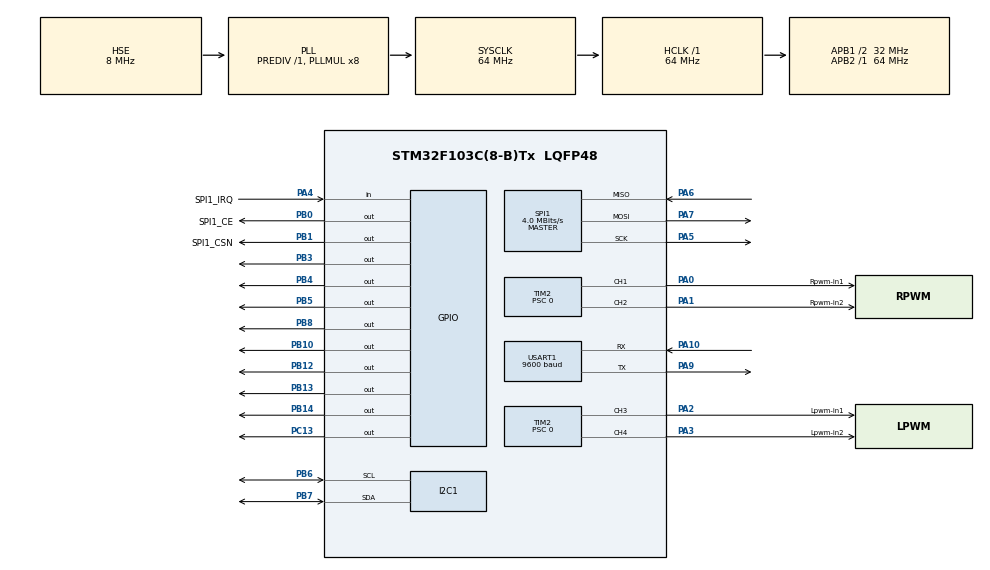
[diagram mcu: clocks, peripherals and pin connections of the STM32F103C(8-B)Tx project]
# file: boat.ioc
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Dma.I2C1_RX.0.Direction=DMA_PERIPH_TO_MEMORY
Dma.I2C1_RX.0.Instance=DMA1_Channel7
Dma.I2C1_RX.0.MemDataAlignment=DMA_MDATAALIGN_BYTE
Dma.I2C1_RX.0.MemInc=DMA_MINC_ENABLE
Dma.I2C1_RX.0.Mode=DMA_NORMAL
Dma.I2C1_RX.0.PeriphDataAlignment=DMA_PDATAALIGN_BYTE
Dma.I2C1_RX.0.PeriphInc=DMA_PINC_DISABLE
Dma.I2C1_RX.0.Priority=DMA_PRIORITY_LOW
Dma.I2C1_TX.1.Direction=DMA_MEMORY_TO_PERIPH
Dma.I2C1_TX.1.Instance=DMA1_Channel6
Dma.I2C1_TX.1.MemDataAlignment=DMA_MDATAALIGN_BYTE
Dma.I2C1_TX.1.MemInc=DMA_MINC_ENABLE
Dma.I2C1_TX.1.Mode=DMA_NORMAL
Dma.I2C1_TX.1.PeriphDataAlignment=DMA_PDATAALIGN_BYTE
Dma.I2C1_TX.1.PeriphInc=DMA_PINC_DISABLE
Dma.I2C1_TX.1.Priority=DMA_PRIORITY_LOW
Dma.Request0=I2C1_RX
Dma.Request1=I2C1_TX
Dma.Request2=SPI1_RX
Dma.Request3=SPI1_TX
Dma.Request4=USART1_RX
Dma.SPI1_RX.2.Direction=DMA_PERIPH_TO_MEMORY
Dma.SPI1_RX.2.Instance=DMA1_Channel2
Dma.SPI1_RX.2.MemDataAlignment=DMA_MDATAALIGN_BYTE
Dma.SPI1_RX.2.MemInc=DMA_MINC_ENABLE
Dma.SPI1_RX.2.Mode=DMA_NORMAL
Dma.SPI1_RX.2.PeriphDataAlignment=DMA_PDATAALIGN_BYTE
Dma.SPI1_RX.2.PeriphInc=DMA_PINC_DISABLE
Dma.SPI1_RX.2.Priority=DMA_PRIORITY_HIGH
Dma.SPI1_TX.3.Direction=DMA_MEMORY_TO_PERIPH
Dma.SPI1_TX.3.Instance=DMA1_Channel3
Dma.SPI1_TX.3.MemDataAlignment=DMA_MDATAALIGN_BYTE
Dma.SPI1_TX.3.MemInc=DMA_MINC_ENABLE
Dma.SPI1_TX.3.Mode=DMA_NORMAL
Dma.SPI1_TX.3.PeriphDataAlignment=DMA_PDATAALIGN_BYTE
Dma.SPI1_TX.3.PeriphInc=DMA_PINC_DISABLE
Dma.SPI1_TX.3.Priority=DMA_PRIORITY_HIGH
Dma.USART1_RX.4.Direction=DMA_PERIPH_TO_MEMORY
Dma.USART1_RX.4.Instance=DMA1_Channel5
Dma.USART1_RX.4.MemDataAlignment=DMA_MDATAALIGN_BYTE
Dma.USART1_RX.4.MemInc=DMA_MINC_ENABLE
Dma.USART1_RX.4.Mode=DMA_NORMAL
Dma.USART1_RX.4.PeriphDataAlignment=DMA_PDATAALIGN_BYTE
Dma.USART1_RX.4.PeriphInc=DMA_PINC_DISABLE
Dma.USART1_RX.4.Priority=DMA_PRIORITY_VERY_HIGH
I2C1.I2C_Mode=I2C_Fast
Mcu.Family=STM32F1
Mcu.Name=STM32F103C(8-B)Tx
Mcu.Package=LQFP48
NVIC.DMA1_Channel2_IRQn=true\:0\:0\:false\:false\:true\:false\:true\:true
NVIC.DMA1_Channel3_IRQn=true\:0\:0\:false\:false\:true\:false\:true\:true
NVIC.DMA1_Channel5_IRQn=true\:0\:0\:false\:false\:true\:false\:true\:true
NVIC.DMA1_Channel6_IRQn=true\:0\:0\:false\:false\:true\:false\:true\:true
NVIC.DMA1_Channel7_IRQn=true\:0\:0\:false\:false\:true\:false\:true\:true
NVIC.I2C1_ER_IRQn=true\:0\:0\:false\:false\:true\:true\:true\:true
NVIC.I2C1_EV_IRQn=true\:0\:0\:false\:false\:true\:true\:true\:true
NVIC.PriorityGroup=NVIC_PRIORITYGROUP_4
NVIC.SPI1_IRQn=true\:0\:0\:false\:false\:true\:true\:true\:true
NVIC.TIM1_UP_IRQn=true\:0\:0\:false\:false\:true\:true\:true\:true
NVIC.TIM2_IRQn=true\:0\:0\:false\:false\:true\:true\:true\:true
NVIC.USART1_IRQn=true\:0\:0\:false\:false\:true\:true\:true\:true
PA0-WKUP.GPIO_Label=Rpwm-in1
PA0-WKUP.Signal=S_TIM2_CH1_ETR
PA1.GPIO_Label=Rpwm-in2
PA1.Signal=S_TIM2_CH2
PA10.Mode=Asynchronous
PA10.Signal=USART1_RX
PA13.Mode=Serial_Wire
PA13.Signal=SYS_JTMS-SWDIO
PA14.Mode=Serial_Wire
PA14.Signal=SYS_JTCK-SWCLK
PA2.GPIO_Label=Lpwm-in1
PA2.Signal=S_TIM2_CH3
PA3.GPIO_Label=Lpwm-in2
PA3.Signal=S_TIM2_CH4
PA4.GPIO_Label=SPI1_IRQ
PA4.GPIO_PuPd=GPIO_PULLUP
PA4.Signal=GPIO_Input
PA5.Mode=Full_Duplex_Master
PA5.Signal=SPI1_SCK
PA6.Mode=Full_Duplex_Master
PA6.Signal=SPI1_MISO
PA7.Mode=Full_Duplex_Master
PA7.Signal=SPI1_MOSI
PA9.Mode=Asynchronous
PA9.Signal=USART1_TX
PB0.GPIO_Label=SPI1_CE
PB0.GPIO_Speed=GPIO_SPEED_FREQ_HIGH
PB0.PinState=GPIO_PIN_SET
PB0.Signal=GPIO_Output
PB1.GPIO_Label=SPI1_CSN
PB1.GPIO_Speed=GPIO_SPEED_FREQ_HIGH
PB1.PinState=GPIO_PIN_SET
PB1.Signal=GPIO_Output
PB10.Signal=GPIO_Output
PB12.Signal=GPIO_Output
PB13.Signal=GPIO_Output
PB14.Signal=GPIO_Output
PB3.GPIO_ModeDefaultOutputPP=GPIO_MODE_OUTPUT_PP
PB3.GPIO_PuPd=GPIO_PULLUP
PB3.PinState=GPIO_PIN_SET
PB3.Signal=GPIO_Output
PB4.Signal=GPIO_Output
PB5.Signal=GPIO_Output
PB6.GPIO_Mode=GPIO_MODE_AF_OD
PB6.Mode=I2C
PB6.Signal=I2C1_SCL
PB7.Mode=I2C
PB7.Signal=I2C1_SDA
PB8.GPIO_ModeDefaultOutputPP=GPIO_MODE_OUTPUT_OD
PB8.GPIO_PuPd=GPIO_PULLUP
PB8.Signal=GPIO_Output
PC13-TAMPER-RTC.GPIO_ModeDefaultOutputPP=GPIO_MODE_OUTPUT_PP
PC13-TAMPER-RTC.GPIO_PuPd=GPIO_NOPULL
PC13-TAMPER-RTC.Signal=GPIO_Output
PC14-OSC32_IN.Mode=LSE-External-Oscillator
PC14-OSC32_IN.Signal=RCC_OSC32_IN
PC15-OSC32_OUT.Mode=LSE-External-Oscillator
PC15-OSC32_OUT.Signal=RCC_OSC32_OUT
PD0-OSC_IN.Mode=HSE-External-Oscillator
PD0-OSC_IN.Signal=RCC_OSC_IN
PD1-OSC_OUT.Mode=HSE-External-Oscillator
PD1-OSC_OUT.Signal=RCC_OSC_OUT
ProjectManager.HeapSize=0x200
ProjectManager.StackSize=0x400
ProjectManager.TargetToolchain=STM32CubeIDE
RCC.ADCPresc=RCC_ADCPCLK2_DIV8
RCC.AHBFreq_Value=64000000
RCC.APB1CLKDivider=RCC_HCLK_DIV2
RCC.APB1Freq_Value=32000000
RCC.APB1TimFreq_Value=64000000
RCC.APB2Freq_Value=64000000
RCC.APB2TimFreq_Value=64000000
RCC.HCLKFreq_Value=64000000
RCC.PLLMUL=RCC_PLL_MUL8
RCC.PLLSourceVirtual=RCC_PLLSOURCE_HSE
RCC.SYSCLKFreq_VALUE=64000000
RCC.SYSCLKSource=RCC_SYSCLKSOURCE_PLLCLK
RCC.USBFreq_Value=64000000
SH.S_TIM2_CH1_ETR.0=TIM2_CH1,PWM Generation1 CH1
SH.S_TIM2_CH2.0=TIM2_CH2,PWM Generation2 CH2
SH.S_TIM2_CH3.0=TIM2_CH3,PWM Generation3 CH3
SH.S_TIM2_CH4.0=TIM2_CH4,PWM Generation4 CH4
SPI1.BaudRatePrescaler=SPI_BAUDRATEPRESCALER_16
SPI1.CalculateBaudRate=4.0 MBits/s
SPI1.Direction=SPI_DIRECTION_2LINES
SPI1.Mode=SPI_MODE_MASTER
SPI1.VirtualType=VM_MASTER
TIM1.AutoReloadPreload=TIM_AUTORELOAD_PRELOAD_ENABLE
TIM1.Period=9999
TIM1.Prescaler=6399
TIM2.AutoReloadPreload=TIM_AUTORELOAD_PRELOAD_ENABLE
TIM2.Channel-PWM\ Generation1\ CH1=TIM_CHANNEL_1
TIM2.Channel-PWM\ Generation2\ CH2=TIM_CHANNEL_2
TIM2.Channel-PWM\ Generation3\ CH3=TIM_CHANNEL_3
TIM2.Channel-PWM\ Generation4\ CH4=TIM_CHANNEL_4
TIM2.OCFastMode_PWM-PWM\ Generation1\ CH1=TIM_OCFAST_ENABLE
TIM2.OCFastMode_PWM-PWM\ Generation2\ CH2=TIM_OCFAST_ENABLE
TIM2.OCFastMode_PWM-PWM\ Generation3\ CH3=TIM_OCFAST_ENABLE
TIM2.OCFastMode_PWM-PWM\ Generation4\ CH4=TIM_OCFAST_ENABLE
TIM2.Period=3199
TIM2.Prescaler=0
TIM2.Pulse-PWM\ Generation1\ CH1=Rpwm_in1
TIM2.Pulse-PWM\ Generation2\ CH2=Rpwm_in2
TIM2.Pulse-PWM\ Generation3\ CH3=Lpwm_in1
TIM2.Pulse-PWM\ Generation4\ CH4=Lpwm_in2
USART1.BaudRate=9600
USART1.VirtualMode=VM_ASYNC
VP_TIM1_VS_ClockSourceINT.Mode=Internal
VP_TIM2_VS_ClockSourceINT.Mode=Internal
board=custom

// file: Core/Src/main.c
/* USER CODE BEGIN Header */
/**
 ******************************************************************************
 * @file           : main.c
 * @brief          : Main program body
 ******************************************************************************
 * @attention
 *
 * Copyright (c) 2025 STMicroelectronics.
 * All rights reserved.
 *
 * This software is licensed under terms that can be found in the LICENSE file
 * in the root directory of this software component.
 * If no LICENSE file comes with this software, it is provided AS-IS.
 *
 ******************************************************************************
 */
/* USER CODE END Header */
#include "main.h"
#include "dma.h"
#include "i2c.h"
#include "spi.h"
#include "tim.h"
#include "usart.h"
#include "gpio.h"

/* USER CODE BEGIN Includes */
#include <stdint.h>
#include <stdio.h>
#include <stdlib.h>
#include <string.h>
#include "nrf24l01.h"
#include "driver.h"
#include "gps.h"
#include "oled.h"
/* USER CODE END Includes */

/* USER CODE BEGIN PTD */

// #define ADC_CHANNELS     4     // 摇杆通道数
// #define FILTER_WINDOW 8
uint16_t values[4];
char message[20] = "";

int RX_BUFF[4] = {0};       // 改为int类型存储解析后的数据
char TowardsData[10] = "";  // 方向
char ForwardsData[10] = ""; // 油门

char remode1[50] = "";
char remode2[50] = "";
char data_ready = 0;

uint8_t g_TxMode = 0, g_UartRxFlag = 0;
char g_UartRxBuffer[100] = {0};
char g_RF24L01RxBuffer[20] = {0};
uint8_t conversion = 0;         // nrf24l01转换标志
uint8_t g_RF24L01TxBuffer[100]; // nRF24L01发送缓冲区

extern uint8_t GPS_timer[32];
/* USER CODE END PTD */

void SystemClock_Config(void);

/* USER CODE BEGIN 0 */

void parse_input_str(char *str, int arr[4])
{
  char *token = strtok(str, ",");
  for (int i = 0; i < 4 && token != NULL; i++)
  {
    arr[i] = atoi(token);
    token = strtok(NULL, ",");
  }
}
void HAL_UART_RxCpltCallback(UART_HandleTypeDef *huart)
{
  if (huart->Instance == USART1)
  {
    // 检查缓冲区溢出
    if (gps_index >= sizeof(gps_buffer))
    {
      gps_index = 0;
      return;
    }

    // 写入接收到的字节
    gps_buffer[gps_index++] = g_UartRxBuffer[0];

    // 检查是否收到完整帧（以 \r\n 结尾）
    if (gps_index >= 6 && g_UartRxBuffer[0] == '\n' && gps_buffer[gps_index - 2] == '\r')
    {
      gps_buffer[gps_index] = '\0'; // 添加字符串终止符

      // 关键点：检查是否为GNRMC帧
      if (strstr((const char *)gps_buffer, "$GNRMC") != NULL)
      {
        parse_gnrmc((const char *)gps_buffer, &gps_data); // 解析GNRMC数据
        gps_data.updata = 1;                              // 标记数据已更新
                                                          // snprintf(GPS_timer, 32, "%s", &gps_buffer[0]); // 格式化为 hh:mm:ss.sss
      }

      gps_index = 0; // 重置缓冲区索引
    }

    // 重新启动DMA接收
    HAL_UART_Receive_DMA(&huart1, (uint8_t *)g_UartRxBuffer, 1);
  }
}

/* USER CODE END 0 */

int main(void)
{

  /* USER CODE BEGIN 1 */
  uint8_t i = 0;
  uint32_t j = 0;
  /* USER CODE END 1 */

  /* MCU Configuration--------------------------------------------------------*/

  /* Reset of all peripherals, Initializes the Flash interface and the Systick. */
  HAL_Init();

  /* USER CODE BEGIN Init */
  //  HAL_SYSTICK_IRQHandler();
  /* USER CODE END Init */

  /* Configure the system clock */
  SystemClock_Config();

  /* Initialize all configured peripherals */
  MX_GPIO_Init();
  MX_DMA_Init();
  MX_I2C1_Init();
  MX_SPI1_Init();
  MX_USART1_UART_Init();
  MX_TIM1_Init();
  MX_TIM2_Init();
  /* USER CODE BEGIN 2 */
  // 启动定时器中断
  HAL_TIM_Base_Start_IT(&htim1);

  HAL_TIM_PWM_Start(&htim2, TIM_CHANNEL_1);
  HAL_TIM_PWM_Start(&htim2, TIM_CHANNEL_2);
  HAL_TIM_PWM_Start(&htim2, TIM_CHANNEL_3);
  HAL_TIM_PWM_Start(&htim2, TIM_CHANNEL_4);

  __HAL_TIM_SET_COMPARE(&htim2, TIM_CHANNEL_1, 0); // 设置占空比50%
  __HAL_TIM_SET_COMPARE(&htim2, TIM_CHANNEL_2, 0); // 设置占空比50%

  __HAL_TIM_SET_COMPARE(&htim2, TIM_CHANNEL_3, 0); // 设置占空比50%
  __HAL_TIM_SET_COMPARE(&htim2, TIM_CHANNEL_4, 0); // 设置占空比50%

  //	OLED_Init();

  // RF24L01引脚初始化
  NRF24L01_Gpio_Init();

  // 检测nRF24L01
  while (NRF24L01_check_DMA() == 0)
    ;
  RF24L01_Init_DMA();
  RF24L01_Set_Mode_DMA(MODE_TX); // 发送模式

  GPS_Init(); // 初始化GPS数据结构体
  /* USER CODE END 2 */

  /* Infinite loop */
  /* USER CODE BEGIN WHILE */
  while (1)
  {
    if (0 != NRF24L01_RxPacket_DMA((uint8_t *)g_RF24L01RxBuffer)) // 接收字节
    {
      parse_input_str(g_RF24L01RxBuffer, RX_BUFF); // 解析接收数据

      update_motion_control(RX_BUFF); // 更新电机控制

      i = 0; // 计数器清零

      // HAL_GPIO_TogglePin(GPIOC, GPIO_PIN_13);
    }
    else
    {
      i++;
      conversion++; // nrf24l01转换标志
      if (i >= 10)
      {
        quiescent(); // 进入静止状态
        i = 0;
      }
      if (conversion > 3) // && gps_data.updata == 1这里的condition是一个条件判断，具体条件需要根据实际情况定义
      {
        mode_change();
      }
    }
    /* USER CODE END WHILE */

  }
}

void SystemClock_Config(void)
{
  RCC_OscInitTypeDef RCC_OscInitStruct = {0};
  RCC_ClkInitTypeDef RCC_ClkInitStruct = {0};

  /** Initializes the RCC Oscillators according to the specified parameters
   * in the RCC_OscInitTypeDef structure.
   */
  RCC_OscInitStruct.OscillatorType = RCC_OSCILLATORTYPE_HSE;
  RCC_OscInitStruct.HSEState = RCC_HSE_ON;
  RCC_OscInitStruct.HSEPredivValue = RCC_HSE_PREDIV_DIV1;
  RCC_OscInitStruct.HSIState = RCC_HSI_ON;
  RCC_OscInitStruct.PLL.PLLState = RCC_PLL_ON;
  RCC_OscInitStruct.PLL.PLLSource = RCC_PLLSOURCE_HSE;
  RCC_OscInitStruct.PLL.PLLMUL = RCC_PLL_MUL8;
  if (HAL_RCC_OscConfig(&RCC_OscInitStruct) != HAL_OK)
  {
    Error_Handler();
  }

  /** Initializes the CPU, AHB and APB buses clocks
   */
  RCC_ClkInitStruct.ClockType = RCC_CLOCKTYPE_HCLK | RCC_CLOCKTYPE_SYSCLK | RCC_CLOCKTYPE_PCLK1 | RCC_CLOCKTYPE_PCLK2;
  RCC_ClkInitStruct.SYSCLKSource = RCC_SYSCLKSOURCE_PLLCLK;
  RCC_ClkInitStruct.AHBCLKDivider = RCC_SYSCLK_DIV1;
  RCC_ClkInitStruct.APB1CLKDivider = RCC_HCLK_DIV2;
  RCC_ClkInitStruct.APB2CLKDivider = RCC_HCLK_DIV1;

  if (HAL_RCC_ClockConfig(&RCC_ClkInitStruct, FLASH_LATENCY_2) != HAL_OK)
  {
    Error_Handler();
  }
}

void Error_Handler(void)
{
  __disable_irq();
  while (1)
  {
  }
}
